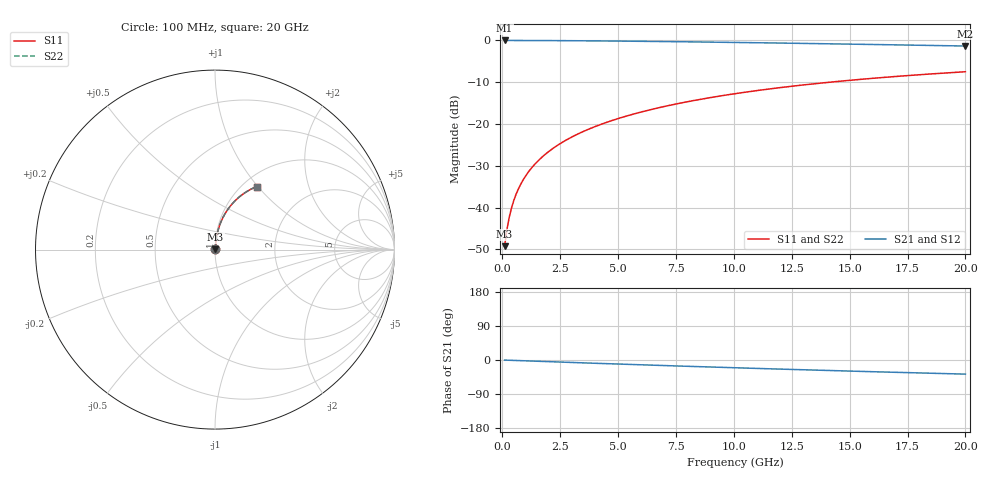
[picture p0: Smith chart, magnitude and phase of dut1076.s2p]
! Touchstone file exported from HFSS 2024.1.0
!  File:  C:/UserFiles/LocalFiles/RDL_TSV_Batchsim/temp_RDL_bottom_1076_1780052987.aedt
!  Generated:  07:12:13 PM May 29, 2026
!  Design:  RDL_bottom
!  Project:  temp_RDL_bottom_1076_1780052987
!  Setup:  Setup1
!  Solution:  Sweep
! Variables:
!  dtsv = 10.80580581um
!  hbump = 3um
!  htsv = 98.84um
!  ldown = 454.55um
!  lrdl = 100um
!  p = 40
!  p1 = 58.77um
!  rhole = 1um
!  t = 450um
!  tdown = 4.48um
!  trdl = 3.915915916um
!  wdown = 15.2um
!  wrdl = 20um
# GHz S MA R 50.000000
! Terminal data exported
! Port[1] = RDL1_T1
! Port[2] = RDL1_T2
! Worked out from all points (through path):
!   200 points, 100 MHz to 20 GHz, reference 50 ohm
!   highest |S21| = -0.02 dB at 100 MHz (marker M1); lowest = -1.4 dB at 20 GHz (marker M2)
!   group delay of S21, straight-line fit = 5.16 ps
!   lowest |S11| = -49.2 dB at 100 MHz (marker M3), VSWR 1.01, Z = 50.2 + j0.243 ohm
!   |S11| at or under -10 dB: start of sweep to 14.15 GHz
!   |S22| runs from -49.2 to -7.5 dB; largest |S21 - S12| = 5.1e-15
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0.1  0.003457 44.4  0.9975 -0.2  0.9975 -0.2  0.003457 44.4
! Gamma 0 0 0 0
! Port Impedance 50 0 50 0
0.2  0.005446 62.3  0.9974 -0.4  0.9974 -0.4  0.005446 62.3
0.3  0.007668 70.0  0.9973 -0.7  0.9973 -0.7  0.007668 70.0
0.4  0.009951 74.0  0.9972 -0.9  0.9972 -0.9  0.00995 74.0
0.5  0.01225 76.5  0.9971 -1.1  0.9971 -1.1  0.01225 76.5
0.7  0.01684 79.3  0.9969 -1.5  0.9969 -1.5  0.01684 79.3
0.8  0.01914 80.1  0.9967 -1.8  0.9967 -1.8  0.01913 80.1
1  0.02372 81.3  0.9964 -2.2  0.9964 -2.2  0.02372 81.3
1.2  0.02831 82.1  0.9961 -2.6  0.9961 -2.6  0.02831 82.1
1.4  0.03291 82.5  0.9957 -3.1  0.9957 -3.1  0.03291 82.5
1.7  0.03981 82.9  0.995 -3.7  0.995 -3.7  0.03981 82.9
2  0.04673 83.1  0.9942 -4.4  0.9942 -4.4  0.04673 83.1
2.7  0.06289 82.9  0.992 -5.9  0.992 -5.9  0.06289 82.9
3.5  0.08139 82.3  0.9887 -7.6  0.9887 -7.6  0.08139 82.3
4.2  0.09758 81.5  0.9853 -9.0  0.9853 -9.0  0.09758 81.5
5  0.1161 80.5  0.9809 -10.7  0.9809 -10.7  0.1161 80.5
6.8  0.1574 77.9  0.9694 -14.3  0.9694 -14.3  0.1574 77.9
8.3  0.1915 75.6  0.9586 -17.2  0.9586 -17.2  0.1915 75.6
10.1  0.2315 72.6  0.9445 -20.6  0.9445 -20.6  0.2315 72.6
13.4  0.3012 67.1  0.9163 -26.5  0.9163 -26.5  0.3012 67.1
16.7  0.3648 61.6  0.8864 -32.1  0.8864 -32.1  0.3648 61.6
20  0.4214 56.5  0.8557 -37.3  0.8557 -37.3  0.4215 56.5
